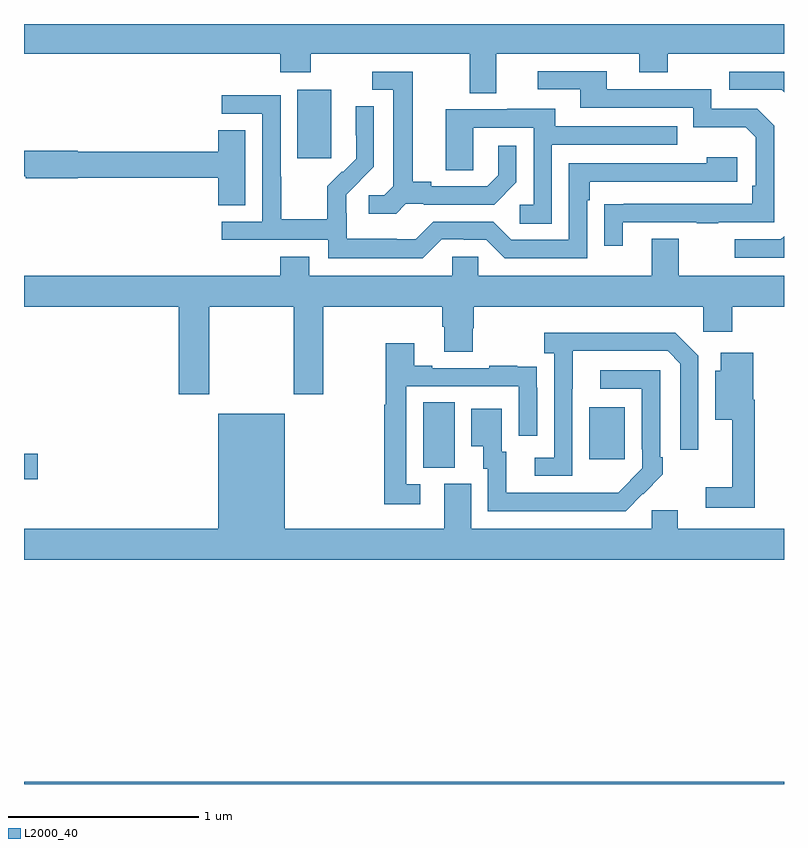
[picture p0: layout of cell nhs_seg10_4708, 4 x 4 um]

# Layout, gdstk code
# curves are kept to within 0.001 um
import gdstk
lib = gdstk.Library(unit=1e-6, precision=1e-09)
def R(c, l, rs):  # rectangles x0, y0, x1, y1
    for r in rs: c.add(gdstk.rectangle(r[:2], r[2:], *l))
def P(c, l, *ps):  # polygons
    for p in ps: c.add(gdstk.Polygon(p, *l))
L2000_40 = (2000, 40)

nhs_seg10_4708 = lib.new_cell('nhs_seg10_4708')
R(nhs_seg10_4708, L2000_40, [(381,1268.5,385,1268.512), (381,1270.103,381.073,1270.238), (383.102,1270.165,383.266,1270.508), (383.975,1270.209,384.163,1270.483), (382.439,1271.793,382.618,1272.154)])
P(nhs_seg10_4708, L2000_40, [(383.485,1272.344),(384.239,1272.344),(384.239,1272.245),(384.387,1272.245),(384.387,1272.344),(385,1272.344),(385,1272.5),(381,1272.5),(381,1272.344),(382.349,1272.344),(382.349,1272.245),(382.509,1272.245),(382.509,1272.344),(383.345,1272.344),(383.345,1272.136),(383.485,1272.136)],
  [(384.151,1271.457),(384.541,1271.457),(384.541,1271.452),(384.653,1271.452),(384.653,1271.457),(384.948,1271.457),(384.948,1271.964),(384.858,1272.054),(384.618,1272.054),(384.618,1272.156),(384.067,1272.156),(384.067,1272.252),(383.703,1272.252),(383.703,1272.156),(383.927,1272.156),(383.927,1272.06),(384.522,1272.06),(384.522,1271.957),(384.799,1271.957),(384.852,1271.904),(384.852,1271.65),(384.832,1271.65),(384.832,1271.553),(384.055,1271.552),(384.055,1271.334),(384.151,1271.334)],
  [(385,1272.249),(384.711,1272.249),(384.711,1272.153),(384.987,1272.153),(385,1272.14)],
  [(383.01,1271.553),(383.104,1271.553),(383.104,1271.55),(383.476,1271.55),(383.592,1271.666),(383.592,1271.86),(383.495,1271.86),(383.495,1271.703),(383.438,1271.646),(383.143,1271.646),(383.143,1271.669),(383.047,1271.669),(383.047,1272.249),(382.833,1272.249),(382.833,1272.153),(382.943,1272.153),(382.943,1271.645),(382.896,1271.598),(382.815,1271.598),(382.815,1271.501),(382.958,1271.501)],
  [(383.199,1271.367),(383.315,1271.367),(383.315,1271.364),(383.433,1271.364),(383.529,1271.268),(383.964,1271.268),(383.964,1271.573),(383.977,1271.573),(383.977,1271.67),(384.754,1271.67),(384.754,1271.8),(384.593,1271.8),(384.593,1271.766),(383.868,1271.766),(383.868,1271.364),(383.565,1271.364),(383.469,1271.46),(383.154,1271.46),(383.061,1271.367),(382.961,1271.367),(382.961,1271.371),(382.698,1271.371),(382.698,1271.505),(382.696,1271.505),(382.696,1271.602),(382.842,1271.75),(382.842,1272.068),(382.746,1272.068),(382.746,1271.914),(382.748,1271.914),(382.748,1271.792),(382.677,1271.721),(382.674,1271.724),(382.597,1271.647),(382.597,1271.473),(382.353,1271.473),(382.353,1271.696),(382.35,1271.696),(382.35,1272.126),(382.041,1272.126),(382.041,1272.027),(382.254,1272.027),(382.254,1271.46),(382.041,1271.46),(382.041,1271.364),(382.602,1271.364),(382.602,1271.267),(383.099,1271.267)],
  [(383.778,1271.865),(384.437,1271.865),(384.437,1271.961),(383.797,1271.961),(383.797,1272.055),(383.543,1272.055),(383.543,1272.051),(383.219,1272.051),(383.219,1271.731),(383.364,1271.731),(383.364,1271.955),(383.682,1271.955),(383.682,1271.55),(383.61,1271.55),(383.61,1271.449),(383.778,1271.449)],
  [(382.165,1271.942),(382.022,1271.942),(382.022,1271.828),(381.282,1271.828),(381.282,1271.834),(381,1271.834),(381,1271.699),(381.01,1271.699),(381.01,1271.687),(381.282,1271.687),(381.282,1271.692),(382.022,1271.692),(382.022,1271.545),(382.165,1271.545)],
  [(385,1271.383),(384.984,1271.367),(384.741,1271.367),(384.741,1271.271),(385,1271.271)],
  [(381.975,1271.012),(382.42,1271.012),(382.42,1270.551),(382.575,1270.551),(382.575,1271.012),(383.201,1271.012),(383.201,1270.906),(383.213,1270.906),(383.213,1270.774),(383.361,1270.774),(383.361,1270.899),(383.366,1270.899),(383.366,1271.012),(384.576,1271.012),(384.576,1270.881),(384.728,1270.881),(384.728,1271.012),(385,1271.012),(385,1271.176),(384.445,1271.176),(384.445,1271.371),(384.305,1271.371),(384.305,1271.176),(383.391,1271.176),(383.391,1271.274),(383.253,1271.274),(383.253,1271.176),(382.501,1271.176),(382.501,1271.275),(382.349,1271.275),(382.349,1271.176),(381,1271.176),(381,1271.012),(381.815,1271.012),(381.815,1270.551),(381.975,1270.551)],
  [(383.886,1270.579),(383.887,1270.779),(384.387,1270.779),(384.453,1270.713),(384.453,1270.26),(384.549,1270.26),(384.549,1270.755),(384.428,1270.876),(383.739,1270.876),(383.739,1270.766),(383.79,1270.766),(383.79,1270.218),(383.688,1270.218),(383.688,1270.122),(383.886,1270.122)],
  [(383.086,1270.077),(383.013,1270.077),(383.013,1270.593),(383.604,1270.593),(383.604,1270.332),(383.7,1270.332),(383.7,1270.586),(383.699,1270.586),(383.699,1270.695),(383.597,1270.695),(383.597,1270.702),(383.449,1270.702),(383.449,1270.689),(383.149,1270.689),(383.149,1270.702),(383.053,1270.702),(383.053,1270.819),(382.905,1270.819),(382.905,1270.496),(382.897,1270.496),(382.897,1269.972),(383.086,1269.972)],
  [(384.845,1270.522),(384.839,1270.522),(384.839,1270.771),(384.668,1270.771),(384.668,1270.675),(384.638,1270.675),(384.638,1270.418),(384.728,1270.418),(384.728,1270.063),(384.588,1270.063),(384.588,1269.954),(384.845,1269.954)],
  [(384.257,1270.027),(384.258,1270.026),(384.363,1270.131),(384.363,1270.219),(384.348,1270.219),(384.348,1270.677),(384.033,1270.677),(384.033,1270.581),(384.252,1270.581),(384.252,1270.261),(384.255,1270.261),(384.255,1270.161),(384.127,1270.033),(383.539,1270.032),(383.539,1270.248),(383.515,1270.248),(383.515,1270.474),(383.354,1270.474),(383.354,1270.277),(383.417,1270.277),(383.417,1270.158),(383.442,1270.158),(383.442,1269.936),(384.166,1269.936)],
  [(385,1269.844),(384.442,1269.844),(384.442,1269.942),(384.303,1269.942),(384.303,1269.844),(383.353,1269.844),(383.353,1270.08),(383.213,1270.08),(383.213,1269.844),(382.372,1269.844),(382.372,1270.45),(382.022,1270.45),(382.022,1269.844),(381,1269.844),(381,1269.68),(385,1269.68)])

lib.write_gds('nhs_seg10_4708.gds')
